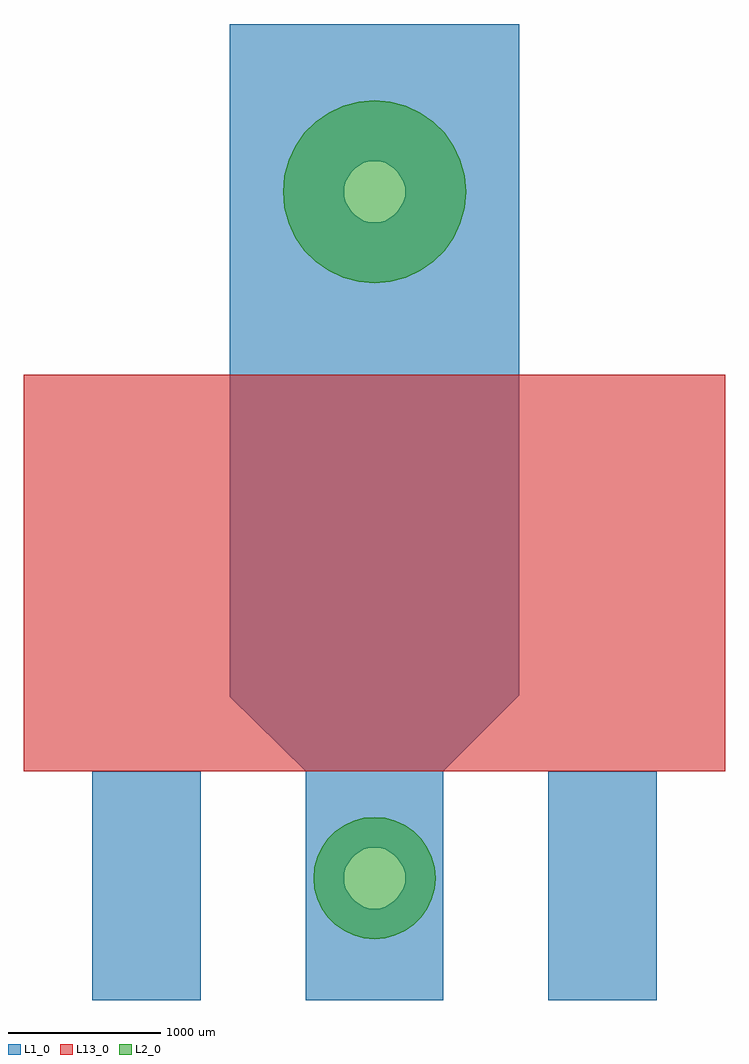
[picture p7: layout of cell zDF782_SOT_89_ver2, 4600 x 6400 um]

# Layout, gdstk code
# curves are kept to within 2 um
import gdstk
lib = gdstk.Library(unit=1e-6, precision=1e-09)
def R(c, l, rs):  # rectangles x0, y0, x1, y1
    for r in rs: c.add(gdstk.rectangle(r[:2], r[2:], *l))
def P(c, l, *ps):  # polygons
    for p in ps: c.add(gdstk.Polygon(p, *l))
L1_0 = (1, 0)
L2_0 = (2, 0)
L13_0 = (13, 0)

zdf782_sot_89_ver2 = lib.new_cell('zDF782_SOT_89_ver2')
R(zdf782_sot_89_ver2, L1_0, [(-1850,-1500,-1140,0), (1140,-1500,1850,0)])
P(zdf782_sot_89_ver2, L1_0, [(-130,3650),(-150,3670),(-190,3730),(-200,3770),(-200,3830),(-190,3870),(-150,3930),(-130,3950),(-70,3990),(-30,4000),(30,4000),(70,3990),(130,3950),(150,3930),(190,3870),(200,3830),(200,3770),(190,3730),(150,3670),(130,3650),(70,3610),(30,3600),(0,3600),(0,-500),(30,-500),(70,-510),(130,-550),(150,-570),(190,-630),(200,-670),(200,-730),(190,-770),(150,-830),(130,-850),(70,-890),(30,-900),(0,-900),(0,-1500),(450,-1500),(450,0),(950,500),(950,4900),(-950,4900),(-950,490),(-450,0),(-450,-1500),(0,-1500),(0,-900),(-30,-900),(-70,-890),(-130,-850),(-150,-830),(-190,-770),(-200,-730),(-200,-670),(-190,-630),(-150,-570),(-130,-550),(-70,-510),(-30,-500),(0,-500),(0,3600),(-30,3600),(-70,3610)])
P(zdf782_sot_89_ver2, L2_0, [(600,3800),(590.885,3695.811),(563.816,3594.788),(519.615,3500),(459.627,3414.327),(385.673,3340.373),(300,3280.385),(205.212,3236.184),(104.189,3209.115),(0,3200),(-104.189,3209.115),(-205.212,3236.184),(-300,3280.385),(-385.673,3340.373),(-459.627,3414.327),(-519.615,3500),(-563.816,3594.788),(-590.885,3695.811),(-600,3800),(-590.885,3904.189),(-563.816,4005.212),(-519.615,4100),(-459.627,4185.673),(-385.673,4259.627),(-300,4319.615),(-205.212,4363.816),(-104.189,4390.885),(0,4400),(104.189,4390.885),(205.212,4363.816),(300,4319.615),(385.673,4259.627),(459.627,4185.673),(519.615,4100),(563.816,4005.212),(590.885,3904.189)],
  [(400,-700),(393.923,-769.459),(375.877,-836.808),(346.41,-900),(306.418,-957.115),(257.115,-1006.418),(200,-1046.41),(136.808,-1075.877),(69.459,-1093.923),(0,-1100),(-69.459,-1093.923),(-136.808,-1075.877),(-200,-1046.41),(-257.115,-1006.418),(-306.418,-957.115),(-346.41,-900),(-375.877,-836.808),(-393.923,-769.459),(-400,-700),(-393.923,-630.541),(-375.877,-563.192),(-346.41,-500),(-306.418,-442.885),(-257.115,-393.582),(-200,-353.59),(-136.808,-324.123),(-69.459,-306.077),(0,-300),(69.459,-306.077),(136.808,-324.123),(200,-353.59),(257.115,-393.582),(306.418,-442.885),(346.41,-500),(375.877,-563.192),(393.923,-630.541)])
R(zdf782_sot_89_ver2, L13_0, [(-2300,0,2300,2600)])
zdf782_sot_89_ver2.add(gdstk.FlexPath([(1850,0),(1140,0)], 0, ends="round", simple_path=True, layer=13, datatype=0))  # L13_0
zdf782_sot_89_ver2.add(gdstk.FlexPath([(-1140,0),(-1850,0)], 0, ends="round", simple_path=True, layer=13, datatype=0))  # L13_0

lib.write_gds('zDF782_SOT_89_ver2.gds')
